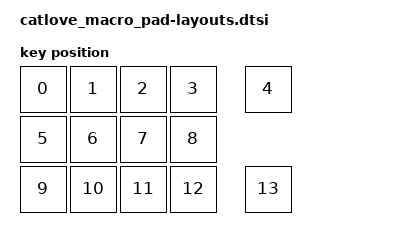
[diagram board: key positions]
#include <physical_layouts.dtsi>

/ {
    physical_layout0: physical_layout_0 {
        compatible = "zmk,physical-layout";
        display-name = "3x4 + 2 Encoders";

        transform = <&default_transform>;
        kscan = <&kscan0>;

        keys =
            /* ROW0: K1 K2 K3 K4 ENC1 */
            <&key_physical_attrs 100 100   0   0 0 0 0>,
            <&key_physical_attrs 100 100 100   0 0 0 0>,
            <&key_physical_attrs 100 100 200   0 0 0 0>,
            <&key_physical_attrs 100 100 300   0 0 0 0>,
            <&key_physical_attrs 100 100 450   0 0 0 0>,

            /* ROW1: K5 K6 K7 K8 */
            <&key_physical_attrs 100 100   0 100 0 0 0>,
            <&key_physical_attrs 100 100 100 100 0 0 0>,
            <&key_physical_attrs 100 100 200 100 0 0 0>,
            <&key_physical_attrs 100 100 300 100 0 0 0>,

            /* ROW2: K9 K10 K11 K12 ENC2 */
            <&key_physical_attrs 100 100   0 200 0 0 0>,
            <&key_physical_attrs 100 100 100 200 0 0 0>,
            <&key_physical_attrs 100 100 200 200 0 0 0>,
            <&key_physical_attrs 100 100 300 200 0 0 0>,
            <&key_physical_attrs 100 100 450 200 0 0 0>;
    };
};
